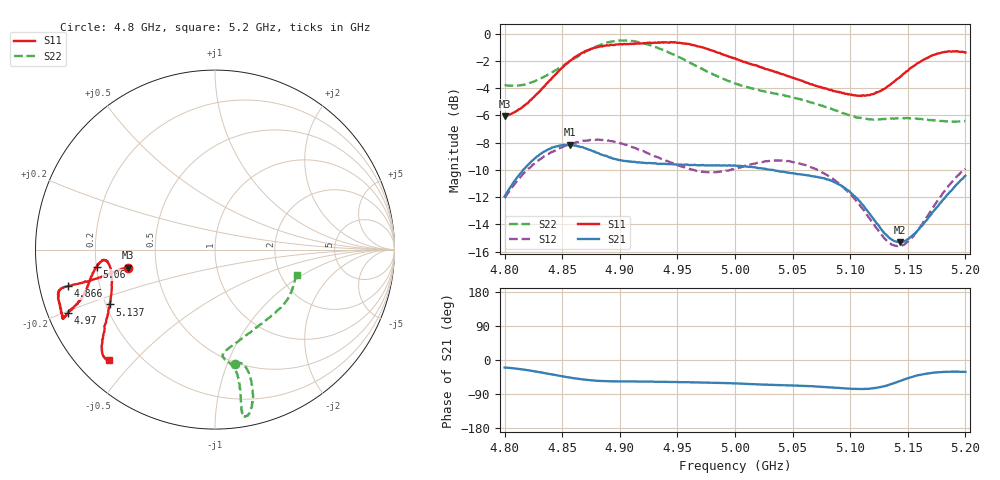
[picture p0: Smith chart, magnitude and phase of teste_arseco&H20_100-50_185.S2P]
! Network Analyzer HP8722D
! Hewlett-Packard
! Data name: Linha & Wilkinson
! Saver's name: Rodrigo Anjos
! Comments: Teste da utilização de aquisição
! continua pelo VNA HP8722D
! Time and date: 6/5/2025 14:06
!  Frequency  S11  S21  S12  S22
# HZ  S  MA R 50
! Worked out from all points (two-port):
!   401 points, 4.8 GHz to 5.2 GHz, reference 50 ohm
!   highest |S21| = -8.16 dB at 4.857 GHz (marker M1); lowest = -15.3 dB at 5.143 GHz (marker M2)
!   |S21| within 3 dB of the highest: 4.806 GHz to 5.092 GHz (286.3 MHz wide, 5.78 % of centre); 5.191497 GHz to end of sweep
!   lowest |S11| = -6.1 dB at 4.8 GHz (marker M3), VSWR 2.97, Z = 17 - j4.57 ohm
!   |S11| at or under -10 dB: nowhere
!   |S22| runs from -6.5 to -0.5 dB; largest |S21 - S12| = 0.62
!   S11 on the Smith chart (normalised r, x): 4.8 GHz: 0.34, -0.09; 4.866 GHz: 0.09, -0.12; 4.97 GHz: 0.06, -0.21; 5.06 GHz: 0.20, -0.07; 5.137 GHz: 0.22, -0.23; 5.2 GHz: 0.09, -0.42
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4.8e9  0.4967 -168.2  0.2528 -19.9  0.249 -141.0  0.6489 -80.3
4.829e9  0.6048 -167.0  0.3555 -31.3  0.3416 -145.3  0.6774 -75.3
4.857e9  0.7964 -166.0  0.3909 -46.5  0.3927 -150.5  0.7925 -74.8
4.866e9  0.8437 -166.0  0.3834 -50.6  0.4015 -152.0  0.8384 -75.3
4.867e9  0.8483 -166.0  0.3835 -50.9  0.4028 -152.1  0.8441 -75.4
4.899e9  0.913 -163.1  0.3438 -56.5  0.3976 -156.9  0.9434 -79.2
4.915e9  0.9191 -159.6  0.3366 -56.9  0.3777 -157.3  0.9338 -80.4
4.934e9  0.9298 -156.5  0.3325 -57.5  0.351 -155.6  0.8825 -80.5
4.97e9  0.8936 -156.6  0.3295 -59.4  0.3121 -147.1  0.7468 -79.6
5e9  0.8125 -159.1  0.3277 -61.9  0.3194 -137.3  0.6558 -81.4
5.035e9  0.723 -165.4  0.3145 -65.9  0.3423 -134.5  0.6025 -85.7
5.06e9  0.6655 -171.7  0.3029 -68.5  0.3299 -136.3  0.5696 -84.3
5.067e9  0.6518 -173.2  0.2998 -69.2  0.3224 -136.9  0.5584 -82.6
5.084e9  0.6218 -174.7  0.289 -72.4  0.2948 -138.5  0.5294 -76.2
5.103e9  0.5945 -171.6  0.2546 -76.1  0.2495 -138.7  0.4968 -65.2
5.117e9  0.5949 -165.0  0.2177 -75.6  0.209 -135.1  0.4851 -55.2
5.134e9  0.6461 -154.3  0.1777 -65.1  0.1702 -120.6  0.4861 -43.3
5.137e9  0.6603 -152.5  0.1745 -62.2  0.1676 -116.7  0.4886 -41.4
5.143e9  0.6916 -149.3  0.1713 -55.7  0.1661 -108.8  0.4891 -37.9
5.154e9  0.7552 -144.5  0.1817 -44.3  0.1793 -95.0  0.4889 -32.3
5.173e9  0.8366 -139.0  0.2245 -33.4  0.2341 -80.9  0.4817 -24.3
5.2e9  0.8533 -133.8  0.3008 -31.4  0.3195 -77.1  0.4784 -17.5
